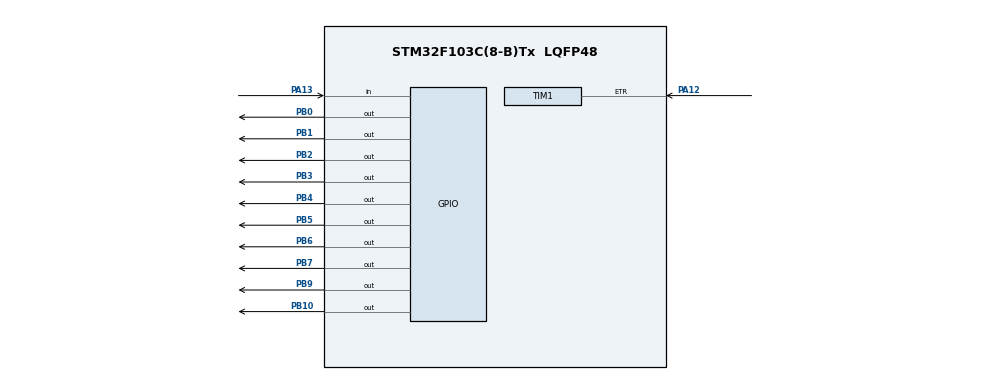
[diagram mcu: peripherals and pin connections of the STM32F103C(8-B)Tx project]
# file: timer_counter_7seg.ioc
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Mcu.Family=STM32F1
Mcu.Name=STM32F103C(8-B)Tx
Mcu.Package=LQFP48
NVIC.PriorityGroup=NVIC_PRIORITYGROUP_4
NVIC.TIM1_BRK_IRQn=true\:0\:0\:false\:false\:true\:true\:true\:true
NVIC.TIM1_UP_IRQn=true\:0\:0\:false\:false\:true\:true\:true\:true
PA12.Signal=S_TIM1_ETR
PA13.GPIO_PuPd=GPIO_PULLUP
PA13.Signal=GPIO_Input
PB0.Signal=GPIO_Output
PB1.Signal=GPIO_Output
PB10.Signal=GPIO_Output
PB2.Signal=GPIO_Output
PB3.Signal=GPIO_Output
PB4.Signal=GPIO_Output
PB5.Signal=GPIO_Output
PB6.Signal=GPIO_Output
PB7.Signal=GPIO_Output
PB9.Signal=GPIO_Output
ProjectManager.HeapSize=0x200
ProjectManager.StackSize=0x400
ProjectManager.TargetToolchain=MDK-ARM V5
RCC.APB1Freq_Value=8000000
RCC.APB2Freq_Value=8000000
SH.S_TIM1_ETR.0=TIM1_ETR,ClockSourceETR_Mode2
VP_SYS_VS_ND.Mode=No_Debug
board=custom

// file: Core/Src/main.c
/* USER CODE BEGIN Header */
/**
  ******************************************************************************
  * @file           : main.c
  * @brief          : Main program body
  ******************************************************************************
  * @attention
  *
  * Copyright (c) 2022 STMicroelectronics.
  * All rights reserved.
  *
  * This software is licensed under terms that can be found in the LICENSE file
  * in the root directory of this software component.
  * If no LICENSE file comes with this software, it is provided AS-IS.
  *
  ******************************************************************************
  */
/* USER CODE END Header */
#include "main.h"

TIM_HandleTypeDef htim1;

/* USER CODE BEGIN PV */
char ledCode[] = {0xc0, 0xf9, 0xa4, 0xb0, 0x99, 0x92, 0x82, 0xf8, 0x80, 0x90};
int count;
int i;
/* USER CODE END PV */

void SystemClock_Config(void);
static void MX_GPIO_Init(void);
static void MX_TIM1_Init(void);

/* USER CODE BEGIN 0 */
void WritePort(uint8_t num) {
	HAL_GPIO_WritePin(GPIOB, GPIO_PIN_0, num & 0x0001);
	HAL_GPIO_WritePin(GPIOB, GPIO_PIN_1, num >> 1 & 0x0001);
	HAL_GPIO_WritePin(GPIOB, GPIO_PIN_2, num >> 2 & 0x0001);
	HAL_GPIO_WritePin(GPIOB, GPIO_PIN_3, num >> 3 & 0x0001);
	HAL_GPIO_WritePin(GPIOB, GPIO_PIN_4, num >> 4 & 0x0001);
	HAL_GPIO_WritePin(GPIOB, GPIO_PIN_5, num >> 5 & 0x0001);
	HAL_GPIO_WritePin(GPIOB, GPIO_PIN_6, num >> 6 & 0x0001);
	HAL_GPIO_WritePin(GPIOB, GPIO_PIN_7, num >> 7 & 0x0001);
}

void ScanLed(uint8_t num) {
	int chuc, donVi;
	chuc = num / 10;
	HAL_GPIO_WritePin(GPIOB, GPIO_PIN_9, GPIO_PIN_SET);
	HAL_GPIO_WritePin(GPIOB, GPIO_PIN_10, GPIO_PIN_RESET);
	WritePort(ledCode[chuc]);
	HAL_Delay(80);

	donVi = num % 10;
	HAL_GPIO_WritePin(GPIOB, GPIO_PIN_9, GPIO_PIN_RESET);
	HAL_GPIO_WritePin(GPIOB, GPIO_PIN_10, GPIO_PIN_SET);
	WritePort(ledCode[donVi]);
	HAL_Delay(80);
}
/* USER CODE END 0 */

int main(void)
{

  /* MCU Configuration--------------------------------------------------------*/

  /* Reset of all peripherals, Initializes the Flash interface and the Systick. */
  HAL_Init();

  /* Configure the system clock */
  SystemClock_Config();

  /* Initialize all configured peripherals */
  MX_GPIO_Init();
  MX_TIM1_Init();
  /* USER CODE BEGIN 2 */
	HAL_TIM_Base_Start(&htim1);
  /* USER CODE END 2 */

  /* Infinite loop */
  while (1)
  {
		if(HAL_GPIO_ReadPin(GPIOA, GPIO_PIN_13) == 0) {
			while(HAL_GPIO_ReadPin(GPIOA, GPIO_PIN_13) == 0);
			__HAL_TIM_SetCounter(&htim1, 0);
		}

		if(HAL_GPIO_ReadPin(GPIOA, GPIO_PIN_12) == 0) {
			i = 1;
		}

		if(i == 1) {
			count = __HAL_TIM_GetCounter(&htim1);
			ScanLed(count);
		} else {
			ScanLed(12);
		}
  }
}

void SystemClock_Config(void)
{
  RCC_OscInitTypeDef RCC_OscInitStruct = {0};
  RCC_ClkInitTypeDef RCC_ClkInitStruct = {0};

  /** Initializes the RCC Oscillators according to the specified parameters
  * in the RCC_OscInitTypeDef structure.
  */
  RCC_OscInitStruct.OscillatorType = RCC_OSCILLATORTYPE_HSI;
  RCC_OscInitStruct.HSIState = RCC_HSI_ON;
  RCC_OscInitStruct.HSICalibrationValue = RCC_HSICALIBRATION_DEFAULT;
  RCC_OscInitStruct.PLL.PLLState = RCC_PLL_NONE;
  if (HAL_RCC_OscConfig(&RCC_OscInitStruct) != HAL_OK)
  {
    Error_Handler();
  }

  /** Initializes the CPU, AHB and APB buses clocks
  */
  RCC_ClkInitStruct.ClockType = RCC_CLOCKTYPE_HCLK|RCC_CLOCKTYPE_SYSCLK
                              |RCC_CLOCKTYPE_PCLK1|RCC_CLOCKTYPE_PCLK2;
  RCC_ClkInitStruct.SYSCLKSource = RCC_SYSCLKSOURCE_HSI;
  RCC_ClkInitStruct.AHBCLKDivider = RCC_SYSCLK_DIV1;
  RCC_ClkInitStruct.APB1CLKDivider = RCC_HCLK_DIV1;
  RCC_ClkInitStruct.APB2CLKDivider = RCC_HCLK_DIV1;

  if (HAL_RCC_ClockConfig(&RCC_ClkInitStruct, FLASH_LATENCY_0) != HAL_OK)
  {
    Error_Handler();
  }
}

static void MX_TIM1_Init(void)
{

  TIM_ClockConfigTypeDef sClockSourceConfig = {0};
  TIM_MasterConfigTypeDef sMasterConfig = {0};

  htim1.Instance = TIM1;
  htim1.Init.Prescaler = 1;
  htim1.Init.CounterMode = TIM_COUNTERMODE_UP;
  htim1.Init.Period = 19;
  htim1.Init.ClockDivision = TIM_CLOCKDIVISION_DIV1;
  htim1.Init.RepetitionCounter = 0;
  htim1.Init.AutoReloadPreload = TIM_AUTORELOAD_PRELOAD_DISABLE;
  if (HAL_TIM_Base_Init(&htim1) != HAL_OK)
  {
    Error_Handler();
  }
  sClockSourceConfig.ClockSource = TIM_CLOCKSOURCE_ETRMODE2;
  sClockSourceConfig.ClockPolarity = TIM_CLOCKPOLARITY_NONINVERTED;
  sClockSourceConfig.ClockPrescaler = TIM_CLOCKPRESCALER_DIV1;
  sClockSourceConfig.ClockFilter = 0;
  if (HAL_TIM_ConfigClockSource(&htim1, &sClockSourceConfig) != HAL_OK)
  {
    Error_Handler();
  }
  sMasterConfig.MasterOutputTrigger = TIM_TRGO_RESET;
  sMasterConfig.MasterSlaveMode = TIM_MASTERSLAVEMODE_DISABLE;
  if (HAL_TIMEx_MasterConfigSynchronization(&htim1, &sMasterConfig) != HAL_OK)
  {
    Error_Handler();
  }

}

static void MX_GPIO_Init(void)
{
  GPIO_InitTypeDef GPIO_InitStruct = {0};

  /* GPIO Ports Clock Enable */
  __HAL_RCC_GPIOB_CLK_ENABLE();
  __HAL_RCC_GPIOA_CLK_ENABLE();

  /*Configure GPIO pin Output Level */
  HAL_GPIO_WritePin(GPIOB, GPIO_PIN_0|GPIO_PIN_1|GPIO_PIN_2|GPIO_PIN_10
                          |GPIO_PIN_3|GPIO_PIN_4|GPIO_PIN_5|GPIO_PIN_6
                          |GPIO_PIN_7|GPIO_PIN_9, GPIO_PIN_RESET);

  /*Configure GPIO pins : PB0 PB1 PB2 PB10
                           PB3 PB4 PB5 PB6
                           PB7 PB9 */
  GPIO_InitStruct.Pin = GPIO_PIN_0|GPIO_PIN_1|GPIO_PIN_2|GPIO_PIN_10
                          |GPIO_PIN_3|GPIO_PIN_4|GPIO_PIN_5|GPIO_PIN_6
                          |GPIO_PIN_7|GPIO_PIN_9;
  GPIO_InitStruct.Mode = GPIO_MODE_OUTPUT_PP;
  GPIO_InitStruct.Pull = GPIO_NOPULL;
  GPIO_InitStruct.Speed = GPIO_SPEED_FREQ_LOW;
  HAL_GPIO_Init(GPIOB, &GPIO_InitStruct);

  /*Configure GPIO pin : PA13 */
  GPIO_InitStruct.Pin = GPIO_PIN_13;
  GPIO_InitStruct.Mode = GPIO_MODE_INPUT;
  GPIO_InitStruct.Pull = GPIO_PULLUP;
  HAL_GPIO_Init(GPIOA, &GPIO_InitStruct);

}

void Error_Handler(void)
{
  __disable_irq();
  while (1)
  {
  }
}
